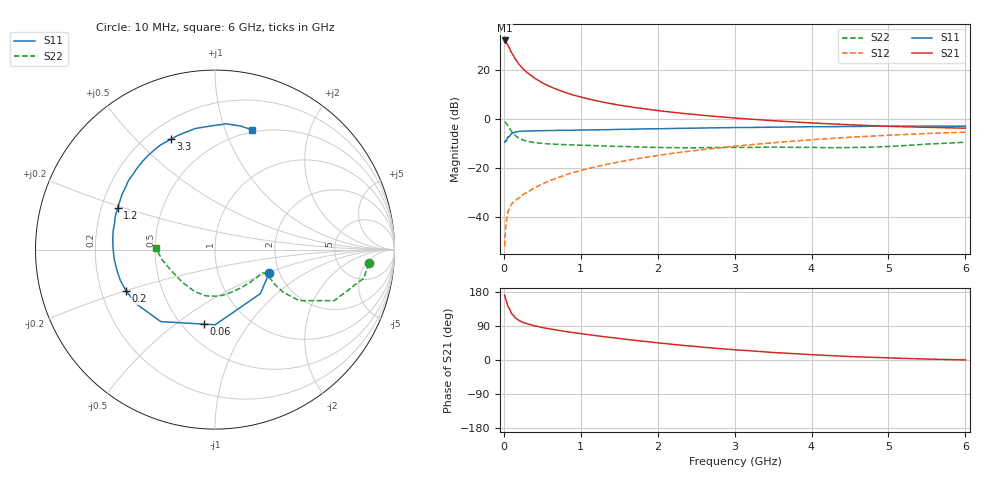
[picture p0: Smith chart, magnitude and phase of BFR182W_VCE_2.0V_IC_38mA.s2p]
! (c) 2017  Infineon Technologies AG, Munich
! Infineon Technologies  Discrete & RF Semiconductors
! BFR182W
! VCE =  2.0 V,  IC =  38 mA
! Common Emitter S-Parameters:  Jan 2017
# GHz  S  MA  R  50
!  f  S11  S21  S12  S22
! GHz  MAG  ANG  MAG  ANG  MAG  ANG  MAG  ANG
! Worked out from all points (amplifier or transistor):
!   77 points, 10 MHz to 6 GHz, reference 50 ohm
!   highest |S21| = 31.9 dB at 10 MHz (marker M1)
!   |S21| within 3 dB of that: start of sweep to 69.58 MHz
!   unconditionally stable (mu >= 1): start of sweep to 12.28 MHz; 267.2 MHz to 2.888 GHz; 5.792 GHz to end of sweep
!   at 130 MHz: K = 0.70, MSG = 29.7 dB, |S12| = -33.9 dB
!   at 2.2 GHz: K = 1.07, MAG = 6.7 dB, |S12| = -14.1 dB
!   at 6 GHz: K = 1.01, MAG = 0.3 dB, |S12| = -5.5 dB
!   S11 on the Smith chart (normalised r, x): 10 MHz: 1.77, -0.52; 60 MHz: 0.64, -0.64; 200 MHz: 0.31, -0.20; 1.2 GHz: 0.27, +0.19; 3.3 GHz: 0.29, +0.64; 6 GHz: 0.48, +1.24
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0.01  0.329 -23.4  39.23 171.4  0.0025 73.7  0.8597 -5.1
0.02  0.3522 -44.1  38.4 163.5  0.0052 73.4  0.8438 -10.9
0.05  0.4189 -89.9  31.98 142.8  0.0119 63.7  0.7221 -23.2
0.06  0.4197 -98.2  29.78 139.8  0.0131 62.0  0.6862 -24.5
0.1  0.5019 -126.9  22.22 122.2  0.018 57.5  0.5474 -31.3
0.15  0.5313 -144.9  16.3 111.1  0.0215 55.0  0.4485 -32.0
0.2  0.5465 -155.1  12.7 104.2  0.0241 58.6  0.3961 -30.6
0.25  0.5546 -162.1  10.39 99.1  0.0284 59.8  0.3658 -28.9
0.3  0.5576 -167.1  8.737 95.6  0.0309 61.8  0.345 -27.5
0.4  0.5638 -174.3  6.661 89.9  0.0388 66.4  0.3236 -25.7
0.5  0.5675 -179.9  5.364 85.6  0.0465 67.9  0.3114 -25.2
0.7  0.5743 172.3  3.875 78.6  0.062 71.7  0.2979 -25.8
0.9  0.578 165.5  3.035 72.4  0.0791 72.5  0.29 -28.3
1.1  0.5871 159.7  2.516 66.9  0.0961 72.8  0.2837 -31.5
1.2  0.5902 156.9  2.317 64.2  0.1042 72.6  0.2802 -33.3
1.6  0.6053 146.9  1.777 54.3  0.1399 71.4  0.2688 -42.4
2.1  0.6238 135.5  1.399 43.3  0.1866 68.2  0.2561 -57.1
3.1  0.6581 115.5  1.002 25.6  0.2826 59.3  0.259 -89.0
3.3  0.6622 111.7  0.953 22.9  0.3019 57.2  0.2596 -94.9
4.1  0.6839 97.8  0.802 13.1  0.379 48.4  0.2568 -120.0
5.1  0.7028 83.6  0.688 4.9  0.4656 36.4  0.2753 -157.7
6  0.6986 72.9  0.637 0.2  0.5303 25.8  0.3296 178.1
